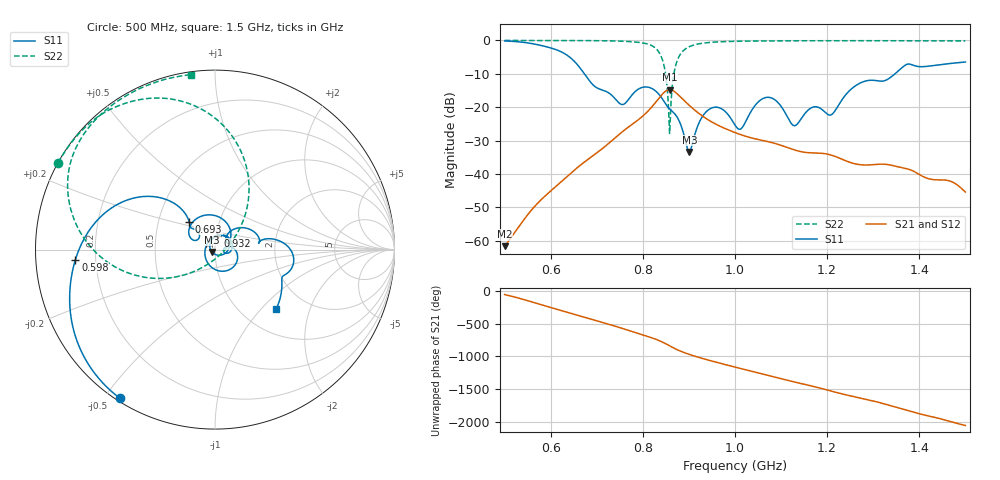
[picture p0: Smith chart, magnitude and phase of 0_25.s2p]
! TOUCHSTONE file generated by CST MICROWAVE STUDIO
! Date and time: Mon Sep 28 14:12:09 2020
! Project name: Scenario_1_Free_SPace.cst
! Parameters = {dx1=588.9; L_HA=400; MT=2.54; Rad_Dielectric=30; Rad_Lower=7.3; Rad_Upper=30; a_HA=580; a_WG=246; b_HA=500; b_WG=121; c_HA=0; c_WG=187; d_feed=85; h_feed=15; h_lower=18; h_upper=40}
! Header version: 2018
! Port assignment regex: !\s*Touchstone port\s*([0-9]+)\s*=\s*(CST MWS port|CST DS port)\s*([0-9]+|Zmin|Zmax)\s*\(\"(.*)\"\)(\s*mode\s*([0-9]+))?.*
! Touchstone port assignment:
! Touchstone port 1 = CST MWS port 1 ("")
! Touchstone port 2 = CST MWS port 2 ("")
# GHz S DB R 50
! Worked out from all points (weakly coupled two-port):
!   1003 points, 500 MHz to 1.5 GHz, reference 50 ohm
!   highest |S21| = -14.73 dB at 858 MHz (marker M1); lowest = -61.6 dB at 500 MHz (marker M2)
!   lowest |S11| = -33.4 dB at 901 MHz (marker M3), VSWR 1.04, Z = 48.3 - j1.3 ohm
!   |S11| at or under -10 dB: 673.1 MHz to 1.347 GHz (674 MHz wide, 66.7 % of centre)
!   |S22| runs from -27.8 to 0.0 dB; largest |S21 - S12| = 7e-05
!   S11 on the Smith chart (normalised r, x): 500 MHz: 0.01, -0.55; 598 MHz: 0.12, -0.03; 693 MHz: 0.72, +0.23; 932 MHz: 1.02, +0.16; 1.5 GHz: 1.42, -1.22
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0.5  -0.15 -122.6  -61.59 -56.9  -61.59 -56.9  -0.01 151.1
0.598  -2.16 -175.9  -45.31 109.1  -45.31 109.1  -0.02 144.2
0.667  -8.83 132.4  -37.06 -31.2  -37.06 -31.2  -0.04 138.3
0.693  -13.45 132.7  -34.38 -84.8  -34.38 -84.8  -0.06 135.5
0.755  -19.20 145.3  -27.39 146.4  -27.39 146.4  -0.23 126.3
0.786  -14.99 145.2  -24.18 77.4  -24.18 77.4  -0.50 118.5
0.834  -15.98 64.2  -17.46 -37.0  -17.46 -37.0  -3.32 85.2
0.846  -18.25 43.5  -15.57 -76.0  -15.57 -76.0  -7.58 63.1
0.858  -20.47 27.9  -14.73 -121.2  -14.73 -121.2  -27.85 -43.4
0.874  -22.87 -3.5  -15.91 -178.5  -15.91 -178.5  -6.25 -163.8
0.901  -33.37 -141.0  -19.48 107.9  -19.48 107.9  -1.86 167.4
0.932  -22.23 79.8  -22.88 40.8  -22.88 40.8  -0.79 153.8
0.966  -20.16 11.6  -25.58 -24.0  -25.58 -24.0  -0.41 145.6
1  -25.32 -17.4  -27.58 -85.9  -27.58 -85.9  -0.26 140.2
1.067  -17.09 -31.9  -30.16 156.2  -30.16 156.2  -0.15 132.7
1.128  -25.50 164.3  -32.75 47.8  -32.75 47.8  -0.11 127.3
1.167  -20.08 49.8  -33.65 -16.4  -33.65 -16.3  -0.09 124.1
1.208  -22.30 35.7  -34.29 -91.2  -34.29 -91.2  -0.09 121.0
1.264  -13.35 33.2  -37.04 173.4  -37.04 173.4  -0.08 116.7
1.334  -11.41 11.7  -37.21 51.1  -37.21 51.1  -0.09 111.4
1.375  -7.08 -7.5  -38.50 -29.6  -38.50 -29.6  -0.10 108.3
1.5  -6.46 -44.4  -45.39 101.7  -45.29 101.4  -0.14 97.9
